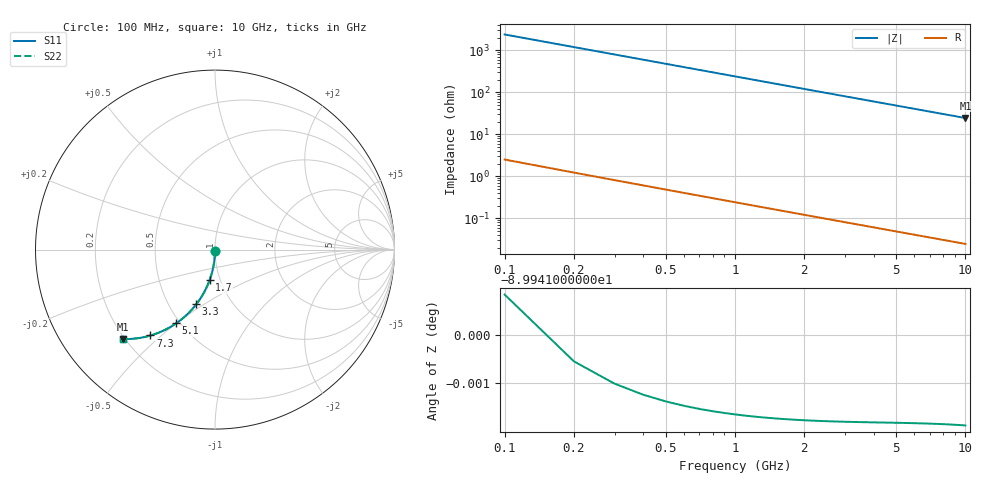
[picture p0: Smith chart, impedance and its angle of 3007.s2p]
# Hz S RI R 50.00
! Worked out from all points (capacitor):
!   100 points, 100 MHz to 10 GHz, reference 50 ohm
!   read as one part in shunt: C = 664 fF near 100 MHz
!   lowest |Z| = 24.5 ohm at 10 GHz (marker M1)
!   S11 on the Smith chart (normalised r, x): 100 MHz: 1.00, -0.02; 1.7 GHz: 0.89, -0.31; 3.3 GHz: 0.68, -0.46; 5.1 GHz: 0.48, -0.50; 7.3 GHz: 0.31, -0.46; 10 GHz: 0.19, -0.39
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1e8  -0.000118 -0.0104  0.9999 -0.0104  0.9999 -0.0104  -0.000118 -0.0104
2e8  -0.000454 -0.0208  0.9995 -0.0209  0.9995 -0.0209  -0.000454 -0.0208
3e8  -0.00101 -0.0312  0.999 -0.0313  0.999 -0.0313  -0.00101 -0.0312
4e8  -0.00177 -0.0416  0.9982 -0.0417  0.9982 -0.0417  -0.00177 -0.0416
5e8  -0.00276 -0.0519  0.9972 -0.052  0.9972 -0.052  -0.00276 -0.0519
6e8  -0.00395 -0.0622  0.996 -0.0623  0.996 -0.0623  -0.00395 -0.0622
8e8  -0.00697 -0.0826  0.993 -0.0828  0.993 -0.0828  -0.00697 -0.0826
9e8  -0.00879 -0.0928  0.9912 -0.0929  0.9912 -0.0929  -0.00879 -0.0928
1.1e9  -0.013 -0.1128  0.987 -0.113  0.987 -0.113  -0.013 -0.1128
1.4e9  -0.0209 -0.1423  0.9791 -0.1426  0.9791 -0.1426  -0.0209 -0.1423
1.7e9  -0.0304 -0.1709  0.9696 -0.1713  0.9696 -0.1713  -0.0304 -0.1709
1.8e9  -0.0339 -0.1803  0.9661 -0.1807  0.9661 -0.1807  -0.0339 -0.1803
2.1e9  -0.0455 -0.2076  0.9545 -0.2081  0.9545 -0.2081  -0.0455 -0.2076
2.5e9  -0.063 -0.2423  0.937 -0.2428  0.937 -0.2428  -0.063 -0.2423
3.3e9  -0.1044 -0.3049  0.8956 -0.3057  0.8956 -0.3057  -0.1044 -0.3049
3.4e9  -0.1101 -0.3121  0.8899 -0.3129  0.8899 -0.3129  -0.1101 -0.3121
4.2e9  -0.1582 -0.364  0.8418 -0.3649  0.8418 -0.3649  -0.1582 -0.364
5.1e9  -0.2162 -0.4106  0.7837 -0.4117  0.7837 -0.4117  -0.2162 -0.4106
6.7e9  -0.3213 -0.4658  0.6787 -0.4672  0.6787 -0.4672  -0.3213 -0.4658
7.3e9  -0.3594 -0.4785  0.6406 -0.4801  0.6406 -0.4801  -0.3594 -0.4785
8.4e9  -0.4256 -0.493  0.5744 -0.4949  0.5744 -0.4949  -0.4256 -0.493
1e10  -0.5115 -0.4983  0.4885 -0.5005  0.4885 -0.5005  -0.5115 -0.4983
